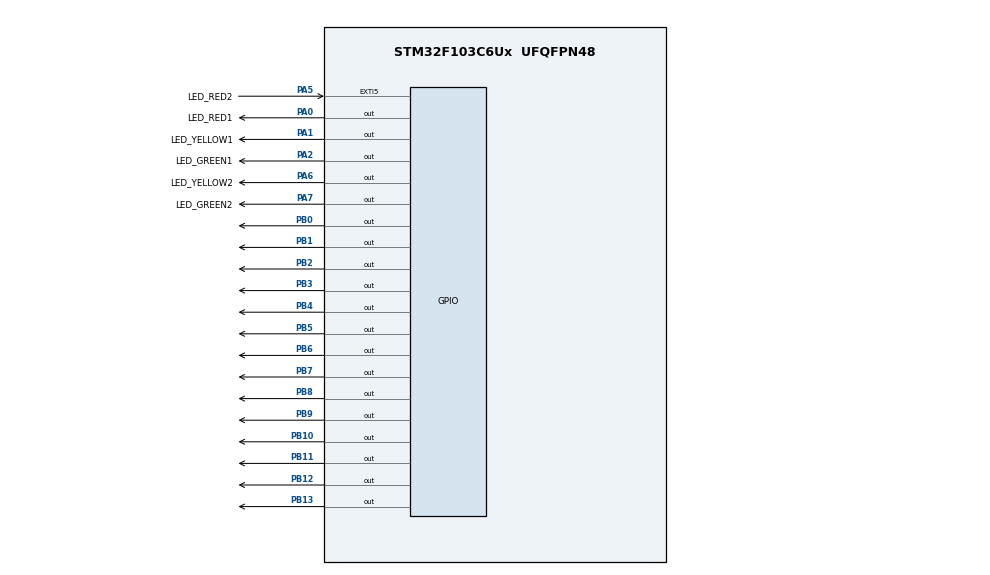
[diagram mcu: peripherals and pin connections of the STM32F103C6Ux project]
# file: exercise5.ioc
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Mcu.Family=STM32F1
Mcu.Name=STM32F103C6Ux
Mcu.Package=UFQFPN48
NVIC.PriorityGroup=NVIC_PRIORITYGROUP_4
PA0-WKUP.GPIO_Label=LED_RED1
PA0-WKUP.Signal=GPIO_Output
PA1.GPIO_Label=LED_YELLOW1
PA1.Signal=GPIO_Output
PA2.GPIO_Label=LED_GREEN1
PA2.Signal=GPIO_Output
PA5.GPIO_Label=LED_RED2
PA5.Signal=GPXTI5
PA6.GPIO_Label=LED_YELLOW2
PA6.Signal=GPIO_Output
PA7.GPIO_Label=LED_GREEN2
PA7.Signal=GPIO_Output
PB0.Signal=GPIO_Output
PB1.Signal=GPIO_Output
PB10.Signal=GPIO_Output
PB11.Signal=GPIO_Output
PB12.Signal=GPIO_Output
PB13.Signal=GPIO_Output
PB2.Signal=GPIO_Output
PB3.Signal=GPIO_Output
PB4.Signal=GPIO_Output
PB5.Signal=GPIO_Output
PB6.Signal=GPIO_Output
PB7.Signal=GPIO_Output
PB8.Signal=GPIO_Output
PB9.Signal=GPIO_Output
ProjectManager.HeapSize=0x200
ProjectManager.StackSize=0x400
ProjectManager.TargetToolchain=STM32CubeIDE
RCC.APB1Freq_Value=8000000
RCC.APB2Freq_Value=8000000
VP_SYS_VS_ND.Mode=No_Debug
board=custom

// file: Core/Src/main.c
/* USER CODE BEGIN Header */
/**
  ******************************************************************************
  * @file           : main.c
  * @brief          : Main program body
  ******************************************************************************
  * @attention
  *
  * <h2><center>&copy; Copyright (c) 2023 STMicroelectronics.
  * All rights reserved.</center></h2>
  *
  * This software component is licensed by ST under BSD 3-Clause license,
  * the "License"; You may not use this file except in compliance with the
  * License. You may obtain a copy of the License at:
  *                        opensource.org/licenses/BSD-3-Clause
  *
  ******************************************************************************
  */
/* USER CODE END Header */
#include "main.h"

void SystemClock_Config(void);
static void MX_GPIO_Init(void);

int main(void)
{

  /* MCU Configuration--------------------------------------------------------*/

  /* Reset of all peripherals, Initializes the Flash interface and the Systick. */
  HAL_Init();

  /* Configure the system clock */
  SystemClock_Config();

  /* Initialize all configured peripherals */
  MX_GPIO_Init();

  /* Infinite loop */
  /* USER CODE BEGIN WHILE */
  int count1 = 5, count2 = 3, state1 = 0, state2 = 1;
  while (1)
  {
    /* USER CODE END WHILE */
	  if(count1 == 0){
		  if(state1 == 0){
			  count1 = 3;
			  state1 = 1;
		  }
		  else if(state1 == 1){
			  count1 = 2;
			  state1 = 2;
		  }
		  else{
			  count1 = 5;
			  state1 = 0;
		  }
	  }

	  if(count2 == 0){
		  if(state2 == 0){
			  count2 = 3;
			  state2 = 1;
		  }
		  else if(state2 == 1){
			  count2 = 2;
			  state2 = 2;
		  }
		  else{
			  count2 = 5;
			  state2 = 0;
		  }
	  }
	  led1(state1);
	  led2(state2);
	  display7SEG1(count1);
	  display7SEG2(count2);
	  --count1;
	  --count2;
	  HAL_Delay(1000);

  }
}

void SystemClock_Config(void)
{
  RCC_OscInitTypeDef RCC_OscInitStruct = {0};
  RCC_ClkInitTypeDef RCC_ClkInitStruct = {0};

  /** Initializes the RCC Oscillators according to the specified parameters
  * in the RCC_OscInitTypeDef structure.
  */
  RCC_OscInitStruct.OscillatorType = RCC_OSCILLATORTYPE_HSI;
  RCC_OscInitStruct.HSIState = RCC_HSI_ON;
  RCC_OscInitStruct.HSICalibrationValue = RCC_HSICALIBRATION_DEFAULT;
  RCC_OscInitStruct.PLL.PLLState = RCC_PLL_NONE;
  if (HAL_RCC_OscConfig(&RCC_OscInitStruct) != HAL_OK)
  {
    Error_Handler();
  }
  /** Initializes the CPU, AHB and APB buses clocks
  */
  RCC_ClkInitStruct.ClockType = RCC_CLOCKTYPE_HCLK|RCC_CLOCKTYPE_SYSCLK
                              |RCC_CLOCKTYPE_PCLK1|RCC_CLOCKTYPE_PCLK2;
  RCC_ClkInitStruct.SYSCLKSource = RCC_SYSCLKSOURCE_HSI;
  RCC_ClkInitStruct.AHBCLKDivider = RCC_SYSCLK_DIV1;
  RCC_ClkInitStruct.APB1CLKDivider = RCC_HCLK_DIV1;
  RCC_ClkInitStruct.APB2CLKDivider = RCC_HCLK_DIV1;

  if (HAL_RCC_ClockConfig(&RCC_ClkInitStruct, FLASH_LATENCY_0) != HAL_OK)
  {
    Error_Handler();
  }
}

static void MX_GPIO_Init(void)
{
  GPIO_InitTypeDef GPIO_InitStruct = {0};

  /* GPIO Ports Clock Enable */
  __HAL_RCC_GPIOA_CLK_ENABLE();
  __HAL_RCC_GPIOB_CLK_ENABLE();

  /*Configure GPIO pin Output Level */
  HAL_GPIO_WritePin(GPIOA, LED_RED1_Pin|LED_YELLOW1_Pin|LED_GREEN1_Pin|LED_YELLOW2_Pin
                          |LED_GREEN2_Pin, GPIO_PIN_RESET);

  /*Configure GPIO pin Output Level */
  HAL_GPIO_WritePin(GPIOB, GPIO_PIN_0|GPIO_PIN_1|GPIO_PIN_2|GPIO_PIN_10
                          |GPIO_PIN_11|GPIO_PIN_12|GPIO_PIN_13|GPIO_PIN_3
                          |GPIO_PIN_4|GPIO_PIN_5|GPIO_PIN_6|GPIO_PIN_7
                          |GPIO_PIN_8|GPIO_PIN_9, GPIO_PIN_RESET);

  /*Configure GPIO pins : LED_RED1_Pin LED_YELLOW1_Pin LED_GREEN1_Pin LED_YELLOW2_Pin
                           LED_GREEN2_Pin */
  GPIO_InitStruct.Pin = LED_RED1_Pin|LED_YELLOW1_Pin|LED_GREEN1_Pin|LED_YELLOW2_Pin
                          |LED_GREEN2_Pin;
  GPIO_InitStruct.Mode = GPIO_MODE_OUTPUT_PP;
  GPIO_InitStruct.Pull = GPIO_NOPULL;
  GPIO_InitStruct.Speed = GPIO_SPEED_FREQ_LOW;
  HAL_GPIO_Init(GPIOA, &GPIO_InitStruct);

  /*Configure GPIO pin : LED_RED2_Pin */
  GPIO_InitStruct.Pin = LED_RED2_Pin;
  GPIO_InitStruct.Mode = GPIO_MODE_IT_RISING;
  GPIO_InitStruct.Pull = GPIO_NOPULL;
  HAL_GPIO_Init(LED_RED2_GPIO_Port, &GPIO_InitStruct);

  /*Configure GPIO pins : PB0 PB1 PB2 PB10
                           PB11 PB12 PB13 PB3
                           PB4 PB5 PB6 PB7
                           PB8 PB9 */
  GPIO_InitStruct.Pin = GPIO_PIN_0|GPIO_PIN_1|GPIO_PIN_2|GPIO_PIN_10
                          |GPIO_PIN_11|GPIO_PIN_12|GPIO_PIN_13|GPIO_PIN_3
                          |GPIO_PIN_4|GPIO_PIN_5|GPIO_PIN_6|GPIO_PIN_7
                          |GPIO_PIN_8|GPIO_PIN_9;
  GPIO_InitStruct.Mode = GPIO_MODE_OUTPUT_PP;
  GPIO_InitStruct.Pull = GPIO_NOPULL;
  GPIO_InitStruct.Speed = GPIO_SPEED_FREQ_LOW;
  HAL_GPIO_Init(GPIOB, &GPIO_InitStruct);

}

/* USER CODE BEGIN 4 */
void display7SEG1(int num)
{
    // Define the LED segments for each digit (0-9)
    const int segments[10] = {
        0b00111111, // 0
        0b00000110, // 1
        0b01011011, // 2
        0b01001111, // 3
        0b01100110, // 4
        0b01101101, // 5
        0b01111101, // 6
        0b00000111, // 7
        0b01111111, // 8
        0b01101111  // 9
    };

    // Display the segments for the given digit
    uint8_t displaySegments = segments[num];

    // Output the segments to the 7-segment display
    HAL_GPIO_WritePin(GPIOB, GPIO_PIN_0, (displaySegments & 0x01) ? GPIO_PIN_RESET : GPIO_PIN_SET);
    HAL_GPIO_WritePin(GPIOB, GPIO_PIN_1, ((displaySegments >> 1) & 0x01) ? GPIO_PIN_RESET : GPIO_PIN_SET);
    HAL_GPIO_WritePin(GPIOB, GPIO_PIN_2, ((displaySegments >> 2) & 0x01) ? GPIO_PIN_RESET : GPIO_PIN_SET);
    HAL_GPIO_WritePin(GPIOB, GPIO_PIN_3, ((displaySegments >> 3) & 0x01) ? GPIO_PIN_RESET : GPIO_PIN_SET);
    HAL_GPIO_WritePin(GPIOB, GPIO_PIN_4, ((displaySegments >> 4) & 0x01) ? GPIO_PIN_RESET : GPIO_PIN_SET);
    HAL_GPIO_WritePin(GPIOB, GPIO_PIN_5, ((displaySegments >> 5) & 0x01) ? GPIO_PIN_RESET : GPIO_PIN_SET);
    HAL_GPIO_WritePin(GPIOB, GPIO_PIN_6, ((displaySegments >> 6) & 0x01) ? GPIO_PIN_RESET : GPIO_PIN_SET);
}

void display7SEG2(int num)
{
    // Define the LED segments for each digit (0-9)
    const int segments[10] = {
        0b00111111, // 0
        0b00000110, // 1
        0b01011011, // 2
        0b01001111, // 3
        0b01100110, // 4
        0b01101101, // 5
        0b01111101, // 6
        0b00000111, // 7
        0b01111111, // 8
        0b01101111  // 9
    };

    // Display the segments for the given digit
    uint8_t displaySegments = segments[num];

    // Output the segments to the 7-segment display
    HAL_GPIO_WritePin(GPIOB, GPIO_PIN_7, (displaySegments & 0x01) ? GPIO_PIN_RESET : GPIO_PIN_SET);
    HAL_GPIO_WritePin(GPIOB, GPIO_PIN_8, ((displaySegments >> 1) & 0x01) ? GPIO_PIN_RESET : GPIO_PIN_SET);
    HAL_GPIO_WritePin(GPIOB, GPIO_PIN_9, ((displaySegments >> 2) & 0x01) ? GPIO_PIN_RESET : GPIO_PIN_SET);
    HAL_GPIO_WritePin(GPIOB, GPIO_PIN_10, ((displaySegments >> 3) & 0x01) ? GPIO_PIN_RESET : GPIO_PIN_SET);
    HAL_GPIO_WritePin(GPIOB, GPIO_PIN_11, ((displaySegments >> 4) & 0x01) ? GPIO_PIN_RESET : GPIO_PIN_SET);
    HAL_GPIO_WritePin(GPIOB, GPIO_PIN_12, ((displaySegments >> 5) & 0x01) ? GPIO_PIN_RESET : GPIO_PIN_SET);
    HAL_GPIO_WritePin(GPIOB, GPIO_PIN_13, ((displaySegments >> 6) & 0x01) ? GPIO_PIN_RESET : GPIO_PIN_SET);
}

void led1(int state){
	  if(state == 0){
		  HAL_GPIO_WritePin(LED_RED1_GPIO_Port, LED_RED1_Pin, GPIO_PIN_RESET);
		  HAL_GPIO_WritePin(LED_YELLOW1_GPIO_Port, LED_YELLOW1_Pin, GPIO_PIN_SET);
		  HAL_GPIO_WritePin(LED_GREEN1_GPIO_Port, LED_GREEN1_Pin, GPIO_PIN_SET);
	  }
	  else if(state == 1){
		  HAL_GPIO_WritePin(LED_RED1_GPIO_Port, LED_RED1_Pin, GPIO_PIN_SET);
		  HAL_GPIO_WritePin(LED_YELLOW1_GPIO_Port, LED_YELLOW1_Pin, GPIO_PIN_SET);
		  HAL_GPIO_WritePin(LED_GREEN1_GPIO_Port, LED_GREEN1_Pin, GPIO_PIN_RESET);
	  }
	  else{
		  HAL_GPIO_WritePin(LED_RED1_GPIO_Port, LED_RED1_Pin, GPIO_PIN_SET);
		  HAL_GPIO_WritePin(LED_YELLOW1_GPIO_Port, LED_YELLOW1_Pin, GPIO_PIN_RESET);
		  HAL_GPIO_WritePin(LED_GREEN1_GPIO_Port, LED_GREEN1_Pin, GPIO_PIN_SET);
	  }
  }

void led2(int state){
	  if(state == 0){
		  HAL_GPIO_WritePin(LED_RED2_GPIO_Port, LED_RED2_Pin, GPIO_PIN_RESET);
		  HAL_GPIO_WritePin(LED_YELLOW2_GPIO_Port, LED_YELLOW2_Pin, GPIO_PIN_SET);
		  HAL_GPIO_WritePin(LED_GREEN2_GPIO_Port, LED_GREEN2_Pin, GPIO_PIN_SET);
	  }
	  else if(state == 1){
		  HAL_GPIO_WritePin(LED_RED2_GPIO_Port, LED_RED2_Pin, GPIO_PIN_SET);
		  HAL_GPIO_WritePin(LED_YELLOW2_GPIO_Port, LED_YELLOW2_Pin, GPIO_PIN_SET);
		  HAL_GPIO_WritePin(LED_GREEN2_GPIO_Port, LED_GREEN2_Pin, GPIO_PIN_RESET);
	  }
	  else{
		  HAL_GPIO_WritePin(LED_RED2_GPIO_Port, LED_RED2_Pin, GPIO_PIN_SET);
		  HAL_GPIO_WritePin(LED_YELLOW2_GPIO_Port, LED_YELLOW2_Pin, GPIO_PIN_RESET);
		  HAL_GPIO_WritePin(LED_GREEN2_GPIO_Port, LED_GREEN2_Pin, GPIO_PIN_SET);
	  }
  }

/* USER CODE END 4 */

void Error_Handler(void)
{
  __disable_irq();
  while (1)
  {
  }
}

/************************ (C) COPYRIGHT STMicroelectronics *****END OF FILE****/
